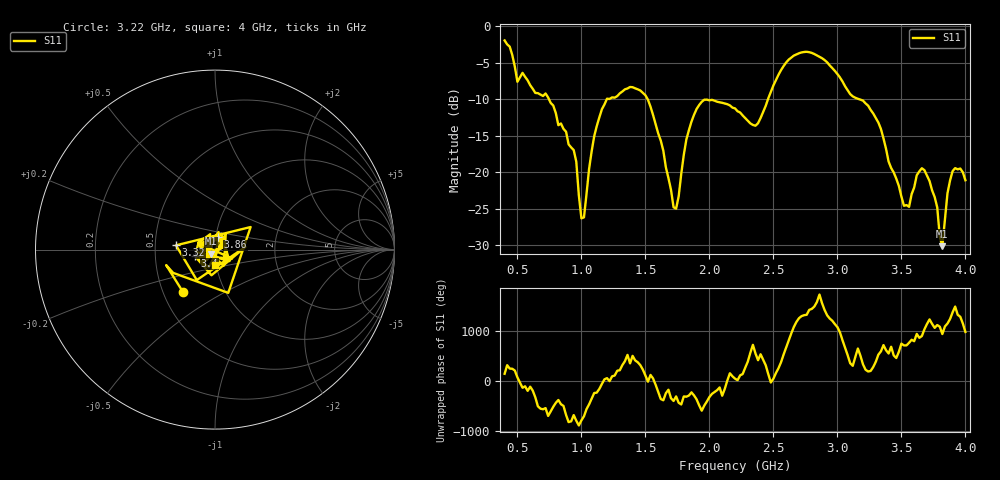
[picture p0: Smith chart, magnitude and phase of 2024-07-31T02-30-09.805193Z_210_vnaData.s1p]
!Created with skrf (http://scikit-rf.org).
# Hz S RI R 50.0
!freq ReS11 ImS11
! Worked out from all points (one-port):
!   181 points, 400 MHz to 4 GHz, reference 50 ohm
!   lowest |S11| = -30.2 dB at 3.82 GHz (marker M1), VSWR 1.06, Z = 47.8 - j2.14 ohm
!   |S11| at or under -10 dB: 746.2 MHz to 1.198 GHz (452.2 MHz wide, 46.5 % of centre); 1.517 GHz to 2.458 GHz (940.4 MHz wide, 47.3 % of centre); 3.169 GHz to end of sweep
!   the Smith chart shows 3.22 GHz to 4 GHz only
!   S11 on the Smith chart (normalised r, x): 3.22 GHz: 0.63, -0.33; 3.32 GHz: 0.64, +0.03; 3.4 GHz: 0.80, -0.06; 3.86 GHz: 1.02, +0.14; 4 GHz: 0.98, -0.17
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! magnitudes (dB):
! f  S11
! 400 MHz  -1.9
! 500 MHz  -7.6
! 720 MHz  -9.2
! 860 MHz  -14.1
! 940 MHz  -17.0
! 1 GHz  -26.3
! 1.02 GHz  -26.2
! 1.12 GHz  -13.7
! 1.3 GHz  -9.2
! 1.5 GHz  -9.5
! 1.72 GHz  -24.8
! 1.76 GHz  -23.3
! 1.82 GHz  -15.5
! 1.9 GHz  -11.3
! 2.2 GHz  -11.3
! 2.36 GHz  -13.6
! 2.66 GHz  -4.0
! 3.1 GHz  -9.3
! 3.22 GHz  -10.6
! 3.32 GHz  -13.2
! 3.4 GHz  -18.6
! 3.56 GHz  -24.8
! 3.68 GHz  -19.7
! 3.78 GHz  -24.8
! 3.82 GHz  -30.2
! 3.86 GHz  -22.9
! 3.92 GHz  -19.5
! 4 GHz  -21.1
